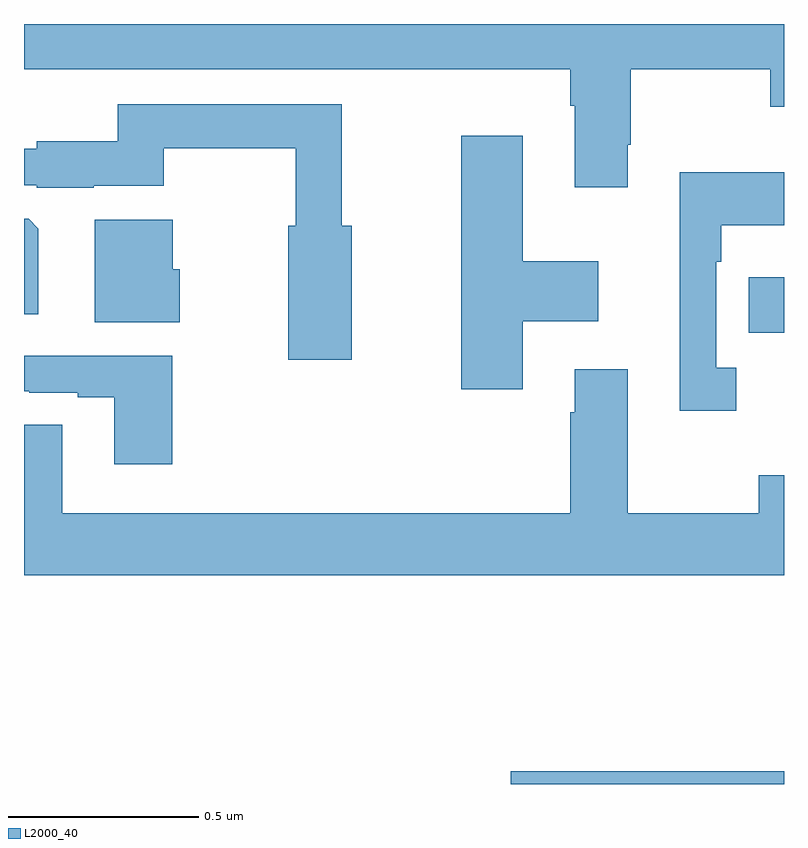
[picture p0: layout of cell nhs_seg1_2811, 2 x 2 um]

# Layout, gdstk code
import gdstk
lib = gdstk.Library(unit=1e-6, precision=1e-09)
def R(c, l, rs):  # rectangles x0, y0, x1, y1
    for r in rs: c.add(gdstk.rectangle(r[:2], r[2:], *l))
def P(c, l, *ps):  # polygons
    for p in ps: c.add(gdstk.Polygon(p, *l))
L2000_40 = (2000, 40)

nhs_seg1_2811 = lib.new_cell('nhs_seg1_2811')
R(nhs_seg1_2811, L2000_40, [(147.281,535.199,148,535.232), (147.907,536.386,148,536.533)])
P(nhs_seg1_2811, L2000_40, [(146,537.08),(147.437,537.08),(147.437,536.984),(147.449,536.984),(147.449,536.769),(147.589,536.769),(147.589,536.881),(147.597,536.881),(147.597,537.08),(147.964,537.08),(147.964,536.981),(148,536.981),(148,537.199),(146,537.199)],
  [(146.862,536.668),(146.836,536.668),(146.836,536.988),(146.247,536.988),(146.247,536.89),(146.034,536.89),(146.034,536.871),(146,536.871),(146,536.775),(146.034,536.775),(146.034,536.768),(146.184,536.768),(146.184,536.774),(146.368,536.774),(146.368,536.872),(146.715,536.872),(146.715,536.668),(146.696,536.668),(146.696,536.316),(146.862,536.316)],
  [(147.313,536.417),(147.511,536.417),(147.511,536.575),(147.313,536.575),(147.313,536.905),(147.151,536.905),(147.151,536.238),(147.313,536.238)],
  [(147.874,536.294),(147.822,536.294),(147.822,536.573),(147.835,536.573),(147.835,536.669),(148,536.669),(148,536.809),(147.725,536.809),(147.725,536.181),(147.874,536.181)],
  [(146.038,536.66),(146.012,536.686),(146,536.686),(146,536.435),(146.038,536.435)],
  [(146.41,536.553),(146.392,536.553),(146.392,536.684),(146.186,536.684),(146.186,536.414),(146.41,536.414)],
  [(146.39,536.326),(146,536.326),(146,536.232),(146.014,536.232),(146.014,536.229),(146.141,536.229),(146.141,536.217),(146.237,536.217),(146.237,536.04),(146.39,536.04)],
  [(148,536.011),(147.934,536.011),(147.934,535.912),(147.589,535.912),(147.589,536.29),(147.449,536.29),(147.449,536.177),(147.437,536.177),(147.437,535.912),(146.101,535.912),(146.101,536.144),(146,536.144),(146,535.748),(148,535.748)])

lib.write_gds('nhs_seg1_2811.gds')
